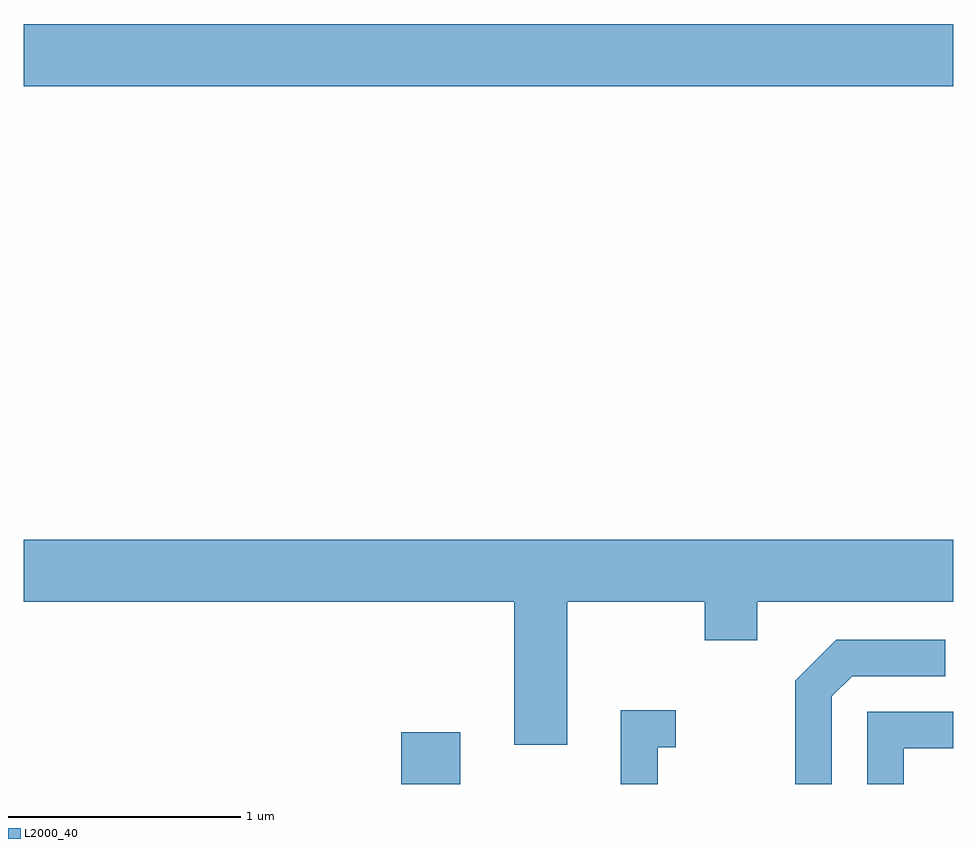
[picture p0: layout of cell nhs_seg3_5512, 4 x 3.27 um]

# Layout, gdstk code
import gdstk
lib = gdstk.Library(unit=1e-6, precision=1e-09)
def R(c, l, rs):  # rectangles x0, y0, x1, y1
    for r in rs: c.add(gdstk.rectangle(r[:2], r[2:], *l))
def P(c, l, *ps):  # polygons
    for p in ps: c.add(gdstk.Polygon(p, *l))
L2000_40 = (2000, 40)

nhs_seg3_5512 = lib.new_cell('nhs_seg3_5512')
R(nhs_seg3_5512, L2000_40, [(349.236,1131.892,349.489,1132.114), (347.611,1134.896,351.611,1135.164)])
P(nhs_seg3_5512, L2000_40, [(349.949,1132.676),(350.541,1132.676),(350.541,1132.511),(350.769,1132.511),(350.769,1132.676),(351.611,1132.676),(351.611,1132.944),(347.611,1132.944),(347.611,1132.676),(349.721,1132.676),(349.721,1132.061),(349.949,1132.061)],
  [(351.089,1132.269),(351.177,1132.356),(351.578,1132.356),(351.578,1132.514),(351.109,1132.514),(350.931,1132.337),(350.931,1131.892),(351.089,1131.892)],
  [(350.339,1132.051),(350.418,1132.051),(350.418,1132.209),(350.181,1132.209),(350.181,1131.892),(350.339,1131.892)],
  [(351.399,1132.046),(351.611,1132.046),(351.611,1132.204),(351.241,1132.204),(351.241,1131.892),(351.399,1131.892)])

lib.write_gds('nhs_seg3_5512.gds')
